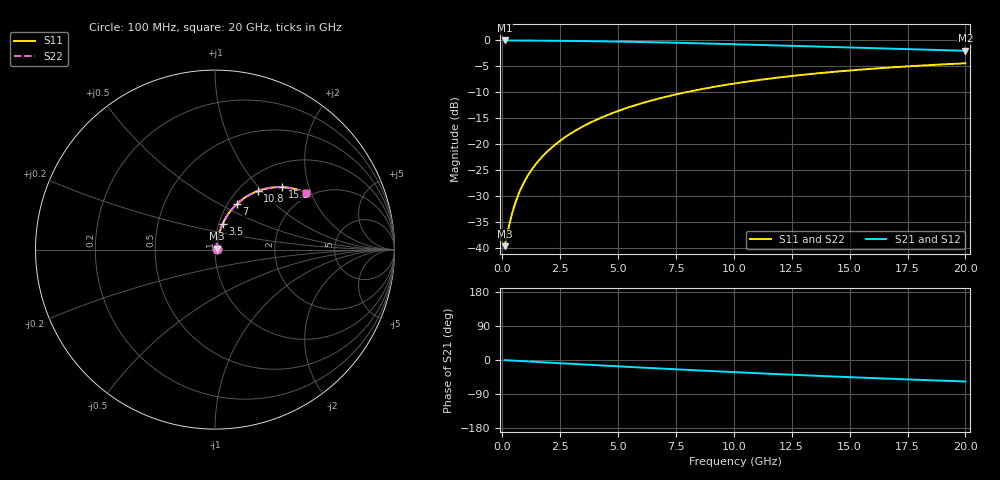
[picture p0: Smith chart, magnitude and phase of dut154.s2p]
! Touchstone file exported from HFSS 2026.1.0
!  File:  C:/ffzhzh/LocalFiles/Ansys_Project_Files/temp_train_BSMRDL_154_1782986665_41620.aedt
!  Generated:  06:06:02 PM Jul  2, 2026
!  Design:  BSMRDL
!  Project:  temp_train_BSMRDL_154_1782986665_41620
! Variables:
!  h_bsmrdl = 2.02um
!  h_ox = 20um
!  h_rdl = 5um
!  h_sub = 80um
!  h_tmrdl = 5um
!  h_tsv = 80um
!  h_via = 3um
!  l_bsmrdl = 788.72um
!  l_sub = 1188.72um
!  l_tmrdl = 200um
!  m_sub = 200um
!  pitch = 53.82um
!  r_tsv = 6um
!  s_tmrdl = 10um
!  w_bsmrdl = 15um
!  w_sub = 500um
!  w_tmrdl = 12um
!  x_tsv_center1 = 206um
!  x_tsv_center2 = 1009.72um
!  x_tsv_center3 = 1221.72um
!  x_tsv_center4 = 2025.44um
!  x_tsv_center5 = 2237.44um
!  x_tsv_center6 = 3041.16um
# GHz S MA R 50.000000
! Terminal data exported
! Port[1] = BSM_RDL1_1_T1
! Port[2] = BSM_RDL1_1_T2
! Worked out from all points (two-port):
!   200 points, 100 MHz to 20 GHz, reference 50 ohm
!   highest |S21| = -0.08 dB at 100 MHz (marker M1); lowest = -2.1 dB at 20 GHz (marker M2)
!   |S21| within 3 dB of the highest: start of sweep to end of sweep
!   lowest |S11| = -39.7 dB at 100 MHz (marker M3), VSWR 1.02, Z = 50.9 + j0.455 ohm
!   |S11| at or under -10 dB: start of sweep to 8 GHz
!   |S22| runs from -39.7 to -4.5 dB; largest |S21 - S12| = 2.1e-15
!   S11 on the Smith chart (normalised r, x): 100 MHz: 1.02, +0.01; 3.5 GHz: 1.04, +0.30; 7 GHz: 1.10, +0.61; 10.8 GHz: 1.22, +0.95; 15.1 GHz: 1.44, +1.36; 20 GHz: 1.87, +1.84
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0.1  0.01032 25.7  0.9907 -0.4  0.9907 -0.4  0.01032 25.7
! Gamma 0 0 0 0
! Port Impedance 50 0 50 0
0.3  0.01651 53.9  0.9904 -1.1  0.9904 -1.1  0.01651 53.9
0.4  0.02038 60.4  0.9902 -1.4  0.9902 -1.4  0.02038 60.4
0.6  0.02852 67.5  0.9897 -2.1  0.9897 -2.1  0.02852 67.5
0.7  0.03266 69.5  0.9894 -2.4  0.9894 -2.4  0.03266 69.5
0.9  0.04097 72.1  0.9888 -3.1  0.9888 -3.1  0.04097 72.1
1.2  0.05341 74.2  0.9878 -4.1  0.9878 -4.1  0.05341 74.2
1.7  0.0741 75.4  0.9861 -5.8  0.9861 -5.8  0.0741 75.4
2.2  0.09474 75.5  0.9841 -7.5  0.9841 -7.5  0.09474 75.5
2.8  0.1194 74.9  0.9812 -9.5  0.9812 -9.5  0.1194 74.9
3.5  0.1478 73.6  0.9772 -11.8  0.9772 -11.8  0.1478 73.6
4.2  0.1758 72.0  0.9724 -14.1  0.9724 -14.1  0.1758 72.0
5  0.2071 69.9  0.9662 -16.7  0.9662 -16.7  0.2071 69.9
6.8  0.2743 65.0  0.9491 -22.4  0.9491 -22.4  0.2743 64.9
7  0.2815 64.4  0.947 -23.0  0.947 -23.0  0.2815 64.4
8.5  0.3329 60.2  0.9301 -27.6  0.9301 -27.6  0.3329 60.2
10.1  0.3834 55.8  0.9104 -32.3  0.9104 -32.3  0.3834 55.7
10.8  0.404 53.9  0.9015 -34.3  0.9015 -34.3  0.404 53.8
13.4  0.4726 47.1  0.8675 -41.3  0.8675 -41.3  0.4726 47.1
15.1  0.511 42.9  0.8456 -45.5  0.8456 -45.5  0.5111 42.9
16.7  0.5429 39.2  0.8256 -49.4  0.8256 -49.4  0.543 39.1
20  0.5969 32.0  0.788 -56.7  0.788 -56.7  0.597 31.9
